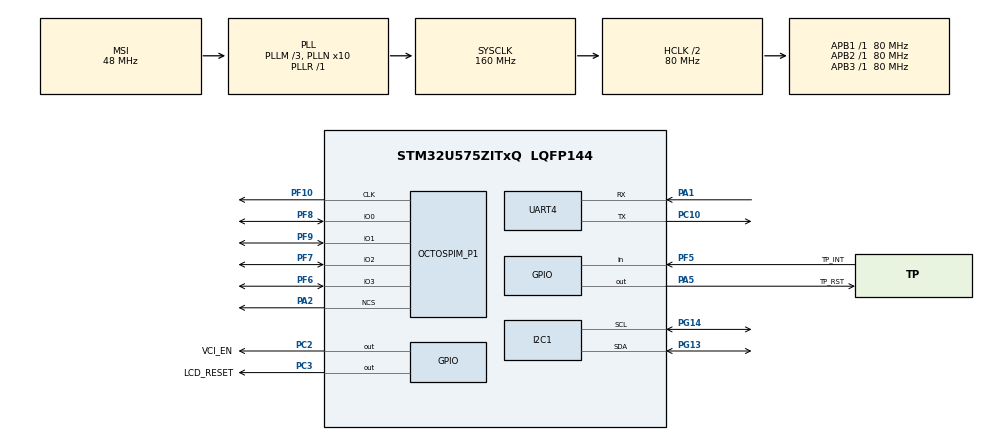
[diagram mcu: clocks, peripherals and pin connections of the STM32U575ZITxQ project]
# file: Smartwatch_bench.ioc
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CORTEX_M33_NS.userName=CORTEX_M33
GPDMA1.DIRECTION_GPDMACH2=DMA_MEMORY_TO_PERIPH
GPDMA1.IPHANDLE_GPDMACH2-SIMPLEREQUEST_GPDMACH2=__NULL
GPDMA1.PRIORITY_GPDMACH2=DMA_HIGH_PRIORITY
GPDMA1.REQUEST_GPDMACH2=GPDMA1_REQUEST_OCTOSPI1
GPDMA1.SRCDATAWIDTH_GPDMACH2=DMA_SRC_DATAWIDTH_BYTE
GPDMA1.SRCINC_GPDMACH2=DMA_SINC_INCREMENTED
I2C1.Timing=0x00000E14
Mcu.Family=STM32U5
Mcu.Name=STM32U575ZITxQ
Mcu.Package=LQFP144
NVIC.GPDMA1_Channel2_IRQn=true\:0\:0\:false\:false\:true\:false\:true\:true
NVIC.OCTOSPI1_IRQn=true\:0\:0\:false\:false\:true\:true\:true\:true
NVIC.PriorityGroup=NVIC_PRIORITYGROUP_4
OCTOSPI1.ChipSelectHighTime=4
OCTOSPI1.ClockMode=HAL_OSPI_CLOCK_MODE_3
OCTOSPI1.ClockPrescaler=1
OCTOSPI1.DeviceSize=24
OCTOSPI1.FreeRunningClock=HAL_OSPI_FREERUNCLK_DISABLE
OCTOSPI1.MaxTran=0
PA1.Mode=Asynchronous
PA1.Signal=UART4_RX
PA13\ (JTMS/SWDIO).Signal=DEBUG_JTMS-SWDIO
PA14\ (JTCK/SWCLK).Signal=DEBUG_JTCK-SWCLK
PA2.Mode=OCTOSPI1_Port1_NCS
PA2.Signal=OCTOSPIM_P1_NCS
PA5.GPIO_Label=TP_RST
PA5.Signal=GPIO_Output
PB3\ (JTDO/TRACESWO).Signal=DEBUG_JTDO-SWO
PC10.Mode=Asynchronous
PC10.Signal=UART4_TX
PC14-OSC32_IN\ (PC14).PinAttribute=Free
PC14-OSC32_IN\ (PC14).Signal=RCC_OSC32_IN
PC15-OSC32_OUT\ (PC15).Signal=RCC_OSC32_OUT
PC2.GPIO_Label=VCI_EN
PC2.Signal=GPIO_Output
PC3.GPIO_Label=LCD_RESET
PC3.Signal=GPIO_Output
PF10.Mode=O1_P1_CLK
PF10.Signal=OCTOSPIM_P1_CLK
PF5.GPIO_Label=TP_INT
PF5.Signal=GPIO_Input
PF6.Mode=OCTOSPI1_IOL_Port1L
PF6.Signal=OCTOSPIM_P1_IO3
PF7.Mode=OCTOSPI1_IOL_Port1L
PF7.Signal=OCTOSPIM_P1_IO2
PF8.Mode=OCTOSPI1_IOL_Port1L
PF8.Signal=OCTOSPIM_P1_IO0
PF9.Mode=OCTOSPI1_IOL_Port1L
PF9.Signal=OCTOSPIM_P1_IO1
PG13.GPIO_Pu=GPIO_NOPULL
PG13.Mode=I2C
PG13.Signal=I2C1_SDA
PG14.GPIO_Pu=GPIO_NOPULL
PG14.Mode=I2C
PG14.Signal=I2C1_SCL
PWR.PowerMode=PWR_SMPS_SUPPLY
ProjectManager.HeapSize=0x200
ProjectManager.StackSize=0x400
ProjectManager.TargetToolchain=STM32CubeIDE
RCC.ADCFreq_Value=16000000
RCC.AHBCLKDivider=RCC_SYSCLK_DIV2
RCC.AHBFreq_Value=80000000
RCC.APB1Freq_Value=80000000
RCC.APB1TimFreq_Value=80000000
RCC.APB2Freq_Value=80000000
RCC.APB2TimFreq_Value=80000000
RCC.APB3Freq_Value=80000000
RCC.CortexFreq_Value=80000000
RCC.DACCLockSelectionVirtual=RCC_DAC1CLKSOURCE_LSI
RCC.EPOD_VALUE=48000000
RCC.HCLKFreq_Value=80000000
RCC.HSE_VALUE=16000000
RCC.HSI48_VALUE=48000000
RCC.HSI_VALUE=16000000
RCC.I2C1CLockSelection=RCC_I2C1CLKSOURCE_MSIK
RCC.LSE_VALUE=32768
RCC.LSIDIV_VALUE=32000
RCC.MSIClockRange=RCC_MSIRANGE_0
RCC.MSI_VALUE=48000000
RCC.OCTOSPIMCLockSelection=RCC_OSPICLKSOURCE_PLL1
RCC.PLL1Q=10
RCC.PLL1R=1
RCC.PLL2FRACN=0
RCC.PLL2N=100
RCC.PLL2Q=10
RCC.PLL3FRACN=0
RCC.PLLFRACN=0
RCC.PLLM=3
RCC.PLLN=10
RCC.SYSCLKFreq_VALUE=160000000
RCC.SYSCLKSource=RCC_SYSCLKSOURCE_PLLCLK
RCC.UART4CLockSelectionVirtual=RCC_UART4CLKSOURCE_HSI
RCC.USBFreq_Value=48000000
RCC.VCOOutputFreq_Value=160000000
RTC.Alarm-Alarm\ A=RTC_ALARM_A
RTC.rtcPrivilegeFull=RTC_PRIVILEGE_FULL_YES
TIM16.Prescaler=79
VP_GPDMA1_VS_GPDMACH2.Mode=SIMPLEREQUEST_GPDMACH2
VP_ICACHE_VS_ENABLE_ICACHE_MEMORY.Mode=Memoryregions
VP_ICACHE_VS_ICACHE.Mode=DirectMappedCache
VP_LPBAMQUEUE_VS_QUEUE.Mode=QUEUEMODE
VP_LPBAM_VS_SIG1.Mode=SmartRun
VP_LPBAM_VS_SIG4.Mode=LPDMA1
VP_MEMORYMAP_VS_MEMORYMAP.Mode=CurAppReg
VP_OCTOSPI1_VS_quad.Mode=quad_mode
VP_PWR_VS_DBSignals.Mode=DisableDeadBatterySignals
VP_PWR_VS_LPOM.Mode=PowerOptimisation
VP_PWR_VS_SECSignals.Mode=Security/Privilege
VP_RTC_VS_RTC_Activate.Mode=RTC_Enabled
VP_RTC_VS_RTC_Alarm_A_Intern.Mode=Alarm A
VP_RTC_VS_RTC_Calendar.Mode=RTC_Calendar
VP_TIM16_VS_ClockSourceINT.Mode=Enable_Timer
board=NUCLEO-U575ZI-Q

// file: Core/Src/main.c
/* USER CODE BEGIN Header */
/**
  ******************************************************************************
  * @file           : main.c
  * @brief          : Main program body
  ******************************************************************************
  * @attention
  *
  * Copyright (c) 2025 STMicroelectronics.
  * All rights reserved.
  *
  * This software is licensed under terms that can be found in the LICENSE file
  * in the root directory of this software component.
  * If no LICENSE file comes with this software, it is provided AS-IS.
  *
  ******************************************************************************
  */
/* USER CODE END Header */
#include "main.h"

/* USER CODE BEGIN Includes */
#include <string.h>
#include <stdio.h>
#include <stdlib.h>
#include "display.h"
#include "lvgl.h"
#include "gui.h"
#include <roboto_58.h>
#include <roboto_28.h>

/* USER CODE END Includes */

I2C_HandleTypeDef hi2c1;

OSPI_HandleTypeDef hospi1;
DMA_HandleTypeDef handle_GPDMA1_Channel2;

RTC_HandleTypeDef hrtc;

TIM_HandleTypeDef htim16;

UART_HandleTypeDef huart4;

void SystemClock_Config(void);
static void SystemPower_Config(void);
static void MX_GPIO_Init(void);
static void MX_GPDMA1_Init(void);
static void MX_ICACHE_Init(void);
static void MX_I2C1_Init(void);
static void MX_OCTOSPI1_Init(void);
static void MX_UART4_Init(void);
static void MX_RTC_Init(void);
static void MX_TIM16_Init(void);

/* USER CODE BEGIN 0 */

LV_IMG_DECLARE(brightness);
LV_IMG_DECLARE(tree);

void HAL_RTC_AlarmAEventCallback(RTC_HandleTypeDef *hrtc) {
	uint8_t Buffer[25] = {0};
    sprintf(Buffer, "RTC 1 minute tick!");
    HAL_UART_Transmit(&huart4, (uint8_t*)Buffer, strlen(Buffer), 1000);
}

static void RTC_SetupOnce(void)
{
	RTC_TimeTypeDef sTime = {0};
	RTC_DateTypeDef sDate = {0};

	sTime.Hours = 17; sTime.Minutes = 3; sTime.Seconds = 0;
	HAL_RTC_SetTime(&hrtc, &sTime, RTC_FORMAT_BIN);

	/*
	sDate.WeekDay = RTC_WEEKDAY_MONDAY;
	sDate.Month   = RTC_MONTH_JANUARY;
	sDate.Date    = 1;
	sDate.Year    = 25;  // 2025
	HAL_RTC_SetDate(&hrtc, &sDate, RTC_FORMAT_BIN);
	*/
}

void RTC_Read(RTC_TimeTypeDef *t, RTC_DateTypeDef *d)
{
    HAL_RTC_GetTime(&hrtc, t, RTC_FORMAT_BIN);
    HAL_RTC_GetDate(&hrtc, d, RTC_FORMAT_BIN); // MUST read date after time (freezes shadow regs)
}

static void arc_event_cb(lv_event_t * e)
{
    lv_obj_t *arc = lv_event_get_target(e);

    if(lv_event_get_code(e) == LV_EVENT_VALUE_CHANGED) {
        int32_t v = lv_arc_get_value(arc);
        // R51 FF (brightness)
        uint8_t buf[4];
        buf[0] = (uint8_t)v;
        (void)co5300_qspi_write_cmd(0x51, buf, 1);
    }
}

void build_gui()
{
    /* Create an arc */
    lv_obj_t * arc = lv_arc_create(lv_screen_active());

    /* Set size and position */
    lv_obj_set_size(arc, 70, 70);
    lv_obj_set_pos(arc, 46, 46);

    /* Configure arc angles */
    lv_arc_set_range(arc, 10, 100);         // Value range
    lv_arc_set_value(arc, 100);             // Current value
    lv_arc_set_rotation(arc, 270);         // Rotate arc start
    lv_arc_set_bg_angles(arc, 0, 360);     // Background arc full circle
    lv_arc_set_angles(arc, 0, 350);

    lv_obj_set_style_arc_color(arc, lv_color_hex(0xFFFFFF), LV_PART_INDICATOR);
    lv_obj_set_style_arc_width(arc, 6, LV_PART_INDICATOR);
    lv_obj_set_style_arc_width(arc, 6, LV_PART_INDICATOR);

    /* Make the knob white */
    lv_obj_set_style_bg_color(arc, lv_color_white(), LV_PART_KNOB);
    lv_obj_set_style_bg_opa(arc, LV_OPA_COVER, LV_PART_KNOB);

    /* Change background arc color */
    lv_obj_set_style_arc_color(arc, lv_color_hex(0x000000), LV_PART_MAIN);
    lv_obj_set_style_arc_width(arc, 6, LV_PART_MAIN);

    lv_obj_add_event_cb(arc, arc_event_cb, LV_EVENT_ALL, NULL);

    /* Create an image inside the arc and center it */
    lv_obj_t *img = lv_image_create(arc);

    /* Option 1: compiled image (C array generated by LVGL’s image converter) */
    lv_image_set_src(img, &brightness);   // e.g. extern const lv_image_dsc_t my_logo;

    /* Option 2: file path (enable FS + decoder like PNG/SVG if needed) */
    // lv_image_set_src(img, "A:/logo.png");  // or "S:/logo.svg", etc.

    lv_obj_center(img);                 // put it in the middle of the arc

    lv_obj_set_style_bg_opa(arc, LV_OPA_70, LV_PART_KNOB);
    //lv_obj_set_style_border_opa(arc, LV_OPA_TRANSP, LV_PART_KNOB);
}

static void clock_timer_cb(lv_timer_t *t)
{
	RTC_TimeTypeDef sTime;
	RTC_DateTypeDef sDate;
    lv_obj_t *label = (lv_obj_t *)lv_timer_get_user_data(t);

	RTC_Read(&sTime, &sDate);

    // ---- Option B (embedded): read from your RTC instead ----
    // int hour = rtc_get_hours();
    // int min  = rtc_get_minutes();

    char buf[9];  // "HH:MM" + NUL
    lv_snprintf(buf, sizeof(buf), "%02d:%02d", sTime.Hours, sTime.Minutes);
    lv_label_set_text(label, buf);
}

void create_line(void) {
    static lv_point_t line_points[] = {
        {0, 0},   // start
        {PANEL_WIDTH, 0}  // end (100px wide, y=0 so it's horizontal)
    };

    lv_obj_t *line = lv_line_create(lv_scr_act());
    lv_line_set_points(line, line_points, 2);

    // Optional style
    lv_obj_set_style_line_width(line, 2, LV_PART_MAIN);
    lv_obj_set_style_line_color(line, lv_color_hex(0xFFFFFF), LV_PART_MAIN);

    // Position on screen
    lv_obj_align(line, LV_ALIGN_TOP_MID, 0, 82);  // 50 px from top
}

void set_date_label(lv_obj_t *label) {

    // Swedish weekday names
    const char *weekday_sv[] = {"Sön", "Mån", "Tis", "Ons", "Tors", "Fre", "Lör"};

    // Format buffer
    char buf[32];
    snprintf(buf, sizeof(buf), "%s %d Aug 2025",
             weekday_sv[4],
             28,
             8,
             2025);

    // Set text in LVGL label
    lv_label_set_text(label, buf);
    lv_obj_align(label, LV_ALIGN_TOP_MID, 0, 355);  // 50 px from top

    static lv_style_t style;
    lv_style_init(&style);
    lv_style_set_text_font(&style, &roboto_28);
    lv_obj_add_style(label, &style, 0);
}

/* USER CODE END 0 */

int main(void)
{

  /* MCU Configuration--------------------------------------------------------*/

  /* Reset of all peripherals, Initializes the Flash interface and the Systick. */
  HAL_Init();

  /* Configure the System Power */
  SystemPower_Config();

  /* Configure the system clock */
  SystemClock_Config();

  /* Initialize all configured peripherals */
  MX_GPIO_Init();
  MX_GPDMA1_Init();
  MX_ICACHE_Init();
  MX_I2C1_Init();
  MX_OCTOSPI1_Init();
  MX_UART4_Init();
  MX_RTC_Init();
  MX_TIM16_Init();
  /* USER CODE BEGIN 2 */
  RTC_SetupOnce();

  // Reset display & touch controller & enable VCI
  HAL_GPIO_WritePin(GPIOC, VCI_EN_Pin, GPIO_PIN_SET);
  reset_display();
  reset_touchcontroller();
  HAL_Delay(60);

  // Initialize display
  co5300_send_init_sequence();

  // Initialize LVGL
  initialize_lvgl();

  // Build GUI
  lv_obj_set_style_bg_color(lv_screen_active(), lv_color_hex(0x000000), LV_PART_MAIN);

  lv_obj_t *img = lv_img_create(lv_screen_active());
  lv_img_set_src(img, &tree);
  lv_obj_center(img);

  lv_obj_clear_flag(lv_screen_active(), LV_OBJ_FLAG_SCROLLABLE);

  // Clock
  static lv_style_t style;
  lv_style_init(&style);
  lv_style_set_text_font(&style, &roboto_58);
  lv_obj_t * label = lv_label_create(lv_screen_active());
  lv_label_set_text(label, "00:00");
  lv_obj_set_style_text_color(lv_screen_active(), lv_color_hex(0xFFFFFF), LV_PART_MAIN);
  lv_obj_align(label, LV_ALIGN_TOP_MID, 0, 300);  // 50 px from top
  lv_timer_create(clock_timer_cb, 1000, label);
  lv_obj_move_foreground(label);    // or create label after the image
  lv_obj_add_style(label, &style, 0);
  lv_obj_t *label2 = lv_label_create(lv_scr_act());
  set_date_label(label2);

  /* USER CODE END 2 */

  /* Infinite loop */
  /* USER CODE BEGIN WHILE */
  while (1)
  {
	cst820_read_touch(&td); // @TODO read on interrupt
	lv_timer_handler();
	lv_tick_inc(10);
	HAL_Delay(10);
    /* USER CODE END WHILE */

  }
}

void SystemClock_Config(void)
{
  RCC_OscInitTypeDef RCC_OscInitStruct = {0};
  RCC_ClkInitTypeDef RCC_ClkInitStruct = {0};

  /** Configure the main internal regulator output voltage
  */
  if (HAL_PWREx_ControlVoltageScaling(PWR_REGULATOR_VOLTAGE_SCALE1) != HAL_OK)
  {
    Error_Handler();
  }

  /** Initializes the CPU, AHB and APB buses clocks
  */
  RCC_OscInitStruct.OscillatorType = RCC_OSCILLATORTYPE_HSI|RCC_OSCILLATORTYPE_LSI
                              |RCC_OSCILLATORTYPE_MSI|RCC_OSCILLATORTYPE_MSIK;
  RCC_OscInitStruct.HSIState = RCC_HSI_ON;
  RCC_OscInitStruct.HSICalibrationValue = RCC_HSICALIBRATION_DEFAULT;
  RCC_OscInitStruct.LSIState = RCC_LSI_ON;
  RCC_OscInitStruct.MSIState = RCC_MSI_ON;
  RCC_OscInitStruct.MSICalibrationValue = RCC_MSICALIBRATION_DEFAULT;
  RCC_OscInitStruct.MSIClockRange = RCC_MSIRANGE_0;
  RCC_OscInitStruct.LSIDiv = RCC_LSI_DIV1;
  RCC_OscInitStruct.MSIKClockRange = RCC_MSIKRANGE_4;
  RCC_OscInitStruct.MSIKState = RCC_MSIK_ON;
  RCC_OscInitStruct.PLL.PLLState = RCC_PLL_ON;
  RCC_OscInitStruct.PLL.PLLSource = RCC_PLLSOURCE_MSI;
  RCC_OscInitStruct.PLL.PLLMBOOST = RCC_PLLMBOOST_DIV4;
  RCC_OscInitStruct.PLL.PLLM = 3;
  RCC_OscInitStruct.PLL.PLLN = 10;
  RCC_OscInitStruct.PLL.PLLP = 2;
  RCC_OscInitStruct.PLL.PLLQ = 10;
  RCC_OscInitStruct.PLL.PLLR = 1;
  RCC_OscInitStruct.PLL.PLLRGE = RCC_PLLVCIRANGE_1;
  RCC_OscInitStruct.PLL.PLLFRACN = 0;
  if (HAL_RCC_OscConfig(&RCC_OscInitStruct) != HAL_OK)
  {
    Error_Handler();
  }

  /** Initializes the CPU, AHB and APB buses clocks
  */
  RCC_ClkInitStruct.ClockType = RCC_CLOCKTYPE_HCLK|RCC_CLOCKTYPE_SYSCLK
                              |RCC_CLOCKTYPE_PCLK1|RCC_CLOCKTYPE_PCLK2
                              |RCC_CLOCKTYPE_PCLK3;
  RCC_ClkInitStruct.SYSCLKSource = RCC_SYSCLKSOURCE_PLLCLK;
  RCC_ClkInitStruct.AHBCLKDivider = RCC_SYSCLK_DIV2;
  RCC_ClkInitStruct.APB1CLKDivider = RCC_HCLK_DIV1;
  RCC_ClkInitStruct.APB2CLKDivider = RCC_HCLK_DIV1;
  RCC_ClkInitStruct.APB3CLKDivider = RCC_HCLK_DIV1;

  if (HAL_RCC_ClockConfig(&RCC_ClkInitStruct, FLASH_LATENCY_2) != HAL_OK)
  {
    Error_Handler();
  }
}

/**
  * @brief Power Configuration
  * @retval None
  */
static void SystemPower_Config(void)
{
  HAL_PWREx_EnableVddIO2();

  /*
   * Disable the internal Pull-Up in Dead Battery pins of UCPD peripheral
   */
  HAL_PWREx_DisableUCPDDeadBattery();

  /*
   * Switch to SMPS regulator instead of LDO
   */
  if (HAL_PWREx_ConfigSupply(PWR_SMPS_SUPPLY) != HAL_OK)
  {
    Error_Handler();
  }
}

static void MX_GPDMA1_Init(void)
{

  /* Peripheral clock enable */
  __HAL_RCC_GPDMA1_CLK_ENABLE();

  /* GPDMA1 interrupt Init */
    HAL_NVIC_SetPriority(GPDMA1_Channel2_IRQn, 0, 0);
    HAL_NVIC_EnableIRQ(GPDMA1_Channel2_IRQn);

  /* USER CODE BEGIN GPDMA1_Init 1 */
    HAL_DMA_RegisterCallback(&handle_GPDMA1_Channel2, dma_callback_id, HAL_OSPI_TxCpltCallback);

  /* USER CODE END GPDMA1_Init 1 */

}

static void MX_I2C1_Init(void)
{

  hi2c1.Instance = I2C1;
  hi2c1.Init.Timing = 0x00000E14;
  hi2c1.Init.OwnAddress1 = 0;
  hi2c1.Init.AddressingMode = I2C_ADDRESSINGMODE_7BIT;
  hi2c1.Init.DualAddressMode = I2C_DUALADDRESS_DISABLE;
  hi2c1.Init.OwnAddress2 = 0;
  hi2c1.Init.OwnAddress2Masks = I2C_OA2_NOMASK;
  hi2c1.Init.GeneralCallMode = I2C_GENERALCALL_DISABLE;
  hi2c1.Init.NoStretchMode = I2C_NOSTRETCH_DISABLE;
  if (HAL_I2C_Init(&hi2c1) != HAL_OK)
  {
    Error_Handler();
  }

  /** Configure Analogue filter
  */
  if (HAL_I2CEx_ConfigAnalogFilter(&hi2c1, I2C_ANALOGFILTER_ENABLE) != HAL_OK)
  {
    Error_Handler();
  }

  /** Configure Digital filter
  */
  if (HAL_I2CEx_ConfigDigitalFilter(&hi2c1, 0) != HAL_OK)
  {
    Error_Handler();
  }

}

static void MX_ICACHE_Init(void)
{

  /** Enable instruction cache in 1-way (direct mapped cache)
  */
  if (HAL_ICACHE_ConfigAssociativityMode(ICACHE_1WAY) != HAL_OK)
  {
    Error_Handler();
  }
  if (HAL_ICACHE_Enable() != HAL_OK)
  {
    Error_Handler();
  }

}

static void MX_OCTOSPI1_Init(void)
{

  OSPIM_CfgTypeDef sOspiManagerCfg = {0};

  /* OCTOSPI1 parameter configuration*/
  hospi1.Instance = OCTOSPI1;
  hospi1.Init.FifoThreshold = 1;
  hospi1.Init.DualQuad = HAL_OSPI_DUALQUAD_DISABLE;
  hospi1.Init.MemoryType = HAL_OSPI_MEMTYPE_MICRON;
  hospi1.Init.DeviceSize = 24;
  hospi1.Init.ChipSelectHighTime = 4;
  hospi1.Init.FreeRunningClock = HAL_OSPI_FREERUNCLK_DISABLE;
  hospi1.Init.ClockMode = HAL_OSPI_CLOCK_MODE_3;
  hospi1.Init.WrapSize = HAL_OSPI_WRAP_NOT_SUPPORTED;
  hospi1.Init.ClockPrescaler = 1;
  hospi1.Init.SampleShifting = HAL_OSPI_SAMPLE_SHIFTING_NONE;
  hospi1.Init.DelayHoldQuarterCycle = HAL_OSPI_DHQC_DISABLE;
  hospi1.Init.ChipSelectBoundary = 0;
  hospi1.Init.DelayBlockBypass = HAL_OSPI_DELAY_BLOCK_BYPASSED;
  hospi1.Init.MaxTran = 0;
  hospi1.Init.Refresh = 0;
  if (HAL_OSPI_Init(&hospi1) != HAL_OK)
  {
    Error_Handler();
  }
  sOspiManagerCfg.ClkPort = 1;
  sOspiManagerCfg.NCSPort = 1;
  sOspiManagerCfg.IOLowPort = HAL_OSPIM_IOPORT_1_LOW;
  if (HAL_OSPIM_Config(&hospi1, &sOspiManagerCfg, HAL_OSPI_TIMEOUT_DEFAULT_VALUE) != HAL_OK)
  {
    Error_Handler();
  }

}

static void MX_RTC_Init(void)
{

  RTC_PrivilegeStateTypeDef privilegeState = {0};
  RTC_TimeTypeDef sTime = {0};
  RTC_DateTypeDef sDate = {0};
  RTC_AlarmTypeDef sAlarm = {0};

  /** Initialize RTC Only
  */
  hrtc.Instance = RTC;
  hrtc.Init.HourFormat = RTC_HOURFORMAT_24;
  hrtc.Init.AsynchPrediv = 127;
  hrtc.Init.SynchPrediv = 255;
  hrtc.Init.OutPut = RTC_OUTPUT_DISABLE;
  hrtc.Init.OutPutRemap = RTC_OUTPUT_REMAP_NONE;
  hrtc.Init.OutPutPolarity = RTC_OUTPUT_POLARITY_HIGH;
  hrtc.Init.OutPutType = RTC_OUTPUT_TYPE_OPENDRAIN;
  hrtc.Init.OutPutPullUp = RTC_OUTPUT_PULLUP_NONE;
  hrtc.Init.BinMode = RTC_BINARY_NONE;
  if (HAL_RTC_Init(&hrtc) != HAL_OK)
  {
    Error_Handler();
  }
  privilegeState.rtcPrivilegeFull = RTC_PRIVILEGE_FULL_YES;
  privilegeState.backupRegisterPrivZone = RTC_PRIVILEGE_BKUP_ZONE_NONE;
  privilegeState.backupRegisterStartZone2 = RTC_BKP_DR0;
  privilegeState.backupRegisterStartZone3 = RTC_BKP_DR0;
  if (HAL_RTCEx_PrivilegeModeSet(&hrtc, &privilegeState) != HAL_OK)
  {
    Error_Handler();
  }

  /** Initialize RTC and set the Time and Date
  */
  sTime.Hours = 0x0;
  sTime.Minutes = 0x0;
  sTime.Seconds = 0x0;
  sTime.DayLightSaving = RTC_DAYLIGHTSAVING_NONE;
  sTime.StoreOperation = RTC_STOREOPERATION_RESET;
  if (HAL_RTC_SetTime(&hrtc, &sTime, RTC_FORMAT_BCD) != HAL_OK)
  {
    Error_Handler();
  }
  sDate.WeekDay = RTC_WEEKDAY_MONDAY;
  sDate.Month = RTC_MONTH_JANUARY;
  sDate.Date = 0x1;
  sDate.Year = 0x0;

  if (HAL_RTC_SetDate(&hrtc, &sDate, RTC_FORMAT_BCD) != HAL_OK)
  {
    Error_Handler();
  }

  /** Enable the Alarm A
  */
  sAlarm.AlarmTime.Hours = 0x0;
  sAlarm.AlarmTime.Minutes = 0x0;
  sAlarm.AlarmTime.Seconds = 0x0;
  sAlarm.AlarmTime.SubSeconds = 0x0;
  sAlarm.AlarmMask = RTC_ALARMMASK_NONE;
  sAlarm.AlarmSubSecondMask = RTC_ALARMSUBSECONDMASK_ALL;
  sAlarm.AlarmDateWeekDaySel = RTC_ALARMDATEWEEKDAYSEL_DATE;
  sAlarm.AlarmDateWeekDay = 0x1;
  sAlarm.Alarm = RTC_ALARM_A;
  if (HAL_RTC_SetAlarm(&hrtc, &sAlarm, RTC_FORMAT_BCD) != HAL_OK)
  {
    Error_Handler();
  }

}

static void MX_TIM16_Init(void)
{

  htim16.Instance = TIM16;
  htim16.Init.Prescaler = 79;
  htim16.Init.CounterMode = TIM_COUNTERMODE_UP;
  htim16.Init.Period = 65535;
  htim16.Init.ClockDivision = TIM_CLOCKDIVISION_DIV1;
  htim16.Init.RepetitionCounter = 0;
  htim16.Init.AutoReloadPreload = TIM_AUTORELOAD_PRELOAD_DISABLE;
  if (HAL_TIM_Base_Init(&htim16) != HAL_OK)
  {
    Error_Handler();
  }

}

static void MX_UART4_Init(void)
{

  huart4.Instance = UART4;
  huart4.Init.BaudRate = 115200;
  huart4.Init.WordLength = UART_WORDLENGTH_8B;
  huart4.Init.StopBits = UART_STOPBITS_1;
  huart4.Init.Parity = UART_PARITY_NONE;
  huart4.Init.Mode = UART_MODE_TX_RX;
  huart4.Init.HwFlowCtl = UART_HWCONTROL_NONE;
  huart4.Init.OverSampling = UART_OVERSAMPLING_16;
  huart4.Init.OneBitSampling = UART_ONE_BIT_SAMPLE_DISABLE;
  huart4.Init.ClockPrescaler = UART_PRESCALER_DIV1;
  huart4.AdvancedInit.AdvFeatureInit = UART_ADVFEATURE_NO_INIT;
  if (HAL_UART_Init(&huart4) != HAL_OK)
  {
    Error_Handler();
  }
  if (HAL_UARTEx_SetTxFifoThreshold(&huart4, UART_TXFIFO_THRESHOLD_1_8) != HAL_OK)
  {
    Error_Handler();
  }
  if (HAL_UARTEx_SetRxFifoThreshold(&huart4, UART_RXFIFO_THRESHOLD_1_8) != HAL_OK)
  {
    Error_Handler();
  }
  if (HAL_UARTEx_DisableFifoMode(&huart4) != HAL_OK)
  {
    Error_Handler();
  }

}

static void MX_GPIO_Init(void)
{
  GPIO_InitTypeDef GPIO_InitStruct = {0};

  /* GPIO Ports Clock Enable */
  __HAL_RCC_GPIOC_CLK_ENABLE();
  __HAL_RCC_GPIOF_CLK_ENABLE();
  __HAL_RCC_GPIOA_CLK_ENABLE();
  __HAL_RCC_GPIOG_CLK_ENABLE();
  __HAL_RCC_GPIOB_CLK_ENABLE();

  /*Configure GPIO pin Output Level */
  HAL_GPIO_WritePin(GPIOC, VCI_EN_Pin|LCD_RESET_Pin, GPIO_PIN_RESET);

  /*Configure GPIO pin Output Level */
  HAL_GPIO_WritePin(TP_RST_GPIO_Port, TP_RST_Pin, GPIO_PIN_RESET);

  /*Configure GPIO pin : TP_INT_Pin */
  GPIO_InitStruct.Pin = TP_INT_Pin;
  GPIO_InitStruct.Mode = GPIO_MODE_INPUT;
  GPIO_InitStruct.Pull = GPIO_NOPULL;
  HAL_GPIO_Init(TP_INT_GPIO_Port, &GPIO_InitStruct);

  /*Configure GPIO pins : VCI_EN_Pin LCD_RESET_Pin */
  GPIO_InitStruct.Pin = VCI_EN_Pin|LCD_RESET_Pin;
  GPIO_InitStruct.Mode = GPIO_MODE_OUTPUT_PP;
  GPIO_InitStruct.Pull = GPIO_NOPULL;
  GPIO_InitStruct.Speed = GPIO_SPEED_FREQ_LOW;
  HAL_GPIO_Init(GPIOC, &GPIO_InitStruct);

  /*Configure GPIO pin : TP_RST_Pin */
  GPIO_InitStruct.Pin = TP_RST_Pin;
  GPIO_InitStruct.Mode = GPIO_MODE_OUTPUT_PP;
  GPIO_InitStruct.Pull = GPIO_NOPULL;
  GPIO_InitStruct.Speed = GPIO_SPEED_FREQ_LOW;
  HAL_GPIO_Init(TP_RST_GPIO_Port, &GPIO_InitStruct);

}

void Error_Handler(void)
{
  __disable_irq();
  while (1)
  {
  }
}
